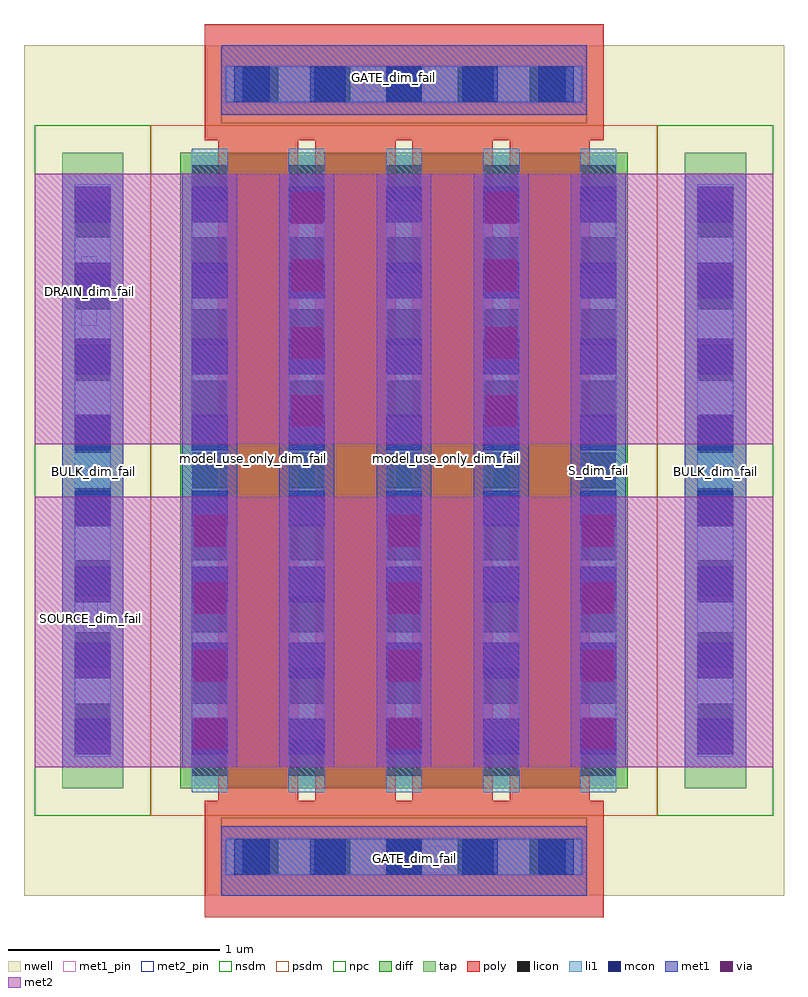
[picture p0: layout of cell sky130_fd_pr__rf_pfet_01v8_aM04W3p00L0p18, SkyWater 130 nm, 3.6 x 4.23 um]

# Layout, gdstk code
import gdstk
lib = gdstk.Library(unit=1e-6, precision=1e-09)
def R(c, l, rs):  # rectangles x0, y0, x1, y1
    for r in rs: c.add(gdstk.rectangle(r[:2], r[2:], *l))
def A(c, l, x, y, w, h, nx, ny, dx, dy):  # array of equal rectangles
    R(c, l, [(x+i*dx, y+j*dy, x+i*dx+w, y+j*dy+h) for i in range(nx) for j in range(ny)])
def P(c, l, *ps):  # polygons
    for p in ps: c.add(gdstk.Polygon(p, *l))
nwell = (64, 20)
diff = (65, 20)
tap = (65, 44)
poly = (66, 20)
licon = (66, 44)
li1 = (67, 20)
mcon = (67, 44)
met1_pin = (68, 16)
met1 = (68, 20)
via = (68, 44)
met2_pin = (69, 16)
met2 = (69, 20)
nsdm = (93, 44)
psdm = (94, 20)
npc = (95, 20)

sky130_fd_pr__rf_pfet_01 = lib.new_cell('sky130_fd_pr__rf_pfet_01v8_aM04W3p00L0p18')
R(sky130_fd_pr__rf_pfet_01, nwell, [(0,0,3.6,4.03)])
R(sky130_fd_pr__rf_pfet_01, diff, [(0.74,0.51,2.86,3.52)])
R(sky130_fd_pr__rf_pfet_01, tap, [(0.18,0.51,0.47,3.52), (3.13,0.51,3.42,3.52)])
P(sky130_fd_pr__rf_pfet_01, poly, [(0.855,-0.1),(0.855,0.45),(0.92,0.45),(0.92,3.58),(1.3,3.58),(1.3,0.45),(1.38,0.45),(1.38,3.58),(1.76,3.58),(1.76,0.45),(1.84,0.45),(1.84,3.58),(2.22,3.58),(2.22,0.45),(2.3,0.45),(2.3,3.58),(0.855,3.58),(0.855,4.13),(2.745,4.13),(2.745,3.58),(2.68,3.58),(2.68,0.45),(2.745,0.45),(2.745,-0.1)])
A(sky130_fd_pr__rf_pfet_01, licon, 1.035, 0.1, 0.17, 0.17, 5, 2, 0.34, 3.66)
A(sky130_fd_pr__rf_pfet_01, licon, 0.795, 0.57, 0.17, 0.17, 5, 9, 0.46, 0.34)
A(sky130_fd_pr__rf_pfet_01, licon, 0.24, 0.74, 0.17, 0.17, 1, 8, 0, 0.34)
A(sky130_fd_pr__rf_pfet_01, licon, 3.19, 0.74, 0.17, 0.17, 1, 8, 0, 0.34)
A(sky130_fd_pr__rf_pfet_01, li1, 0.795, 0.49, 0.17, 3.05, 5, 1, 0.46, 0)
A(sky130_fd_pr__rf_pfet_01, li1, 0.795, 0.67, 0.17, 2.69, 5, 1, 0.46, 0)
R(sky130_fd_pr__rf_pfet_01, li1, [(0.955,0.1,2.645,0.27), (0.995,0.1,2.605,0.27), (0.24,0.66,0.41,3.37), (3.19,0.66,3.36,3.37), (0.24,0.67,0.41,3.36), (3.19,0.67,3.36,3.36), (0.955,3.76,2.645,3.93), (0.995,3.76,2.605,3.93)])
A(sky130_fd_pr__rf_pfet_01, mcon, 0.995, 0.1, 0.17, 0.17, 5, 2, 0.36, 3.66)
A(sky130_fd_pr__rf_pfet_01, mcon, 0.24, 0.67, 0.17, 0.17, 1, 8, 0, 0.36)
A(sky130_fd_pr__rf_pfet_01, mcon, 0.795, 0.67, 0.17, 0.17, 5, 8, 0.46, 0.36)
A(sky130_fd_pr__rf_pfet_01, mcon, 3.19, 0.67, 0.17, 0.17, 1, 8, 0, 0.36)
R(sky130_fd_pr__rf_pfet_01, met1_pin, [(1.705,0.11,1.995,0.235), (0.245,1.98,0.415,2.035), (3.19,1.98,3.36,2.035), (1.605,3.81,1.895,3.935)])
A(sky130_fd_pr__rf_pfet_01, met1, 0.75, 0.61, 0.26, 1.28, 3, 1, 0.92, 0)
A(sky130_fd_pr__rf_pfet_01, met1, 0.75, 0.61, 0.26, 2.81, 5, 1, 0.46, 0)
R(sky130_fd_pr__rf_pfet_01, met1, [(0.935,0,2.665,0.33), (0.18,0.61,0.47,3.42), (3.13,0.61,3.42,3.42), (1.21,2.14,1.47,3.42), (2.13,2.14,2.39,3.42), (0.935,3.7,2.665,4.03)])
A(sky130_fd_pr__rf_pfet_01, via, 0.805, 0.695, 0.15, 0.15, 3, 4, 0.92, 0.32)
A(sky130_fd_pr__rf_pfet_01, via, 1.265, 2.225, 0.15, 0.15, 1, 4, 0, 0.32)
A(sky130_fd_pr__rf_pfet_01, via, 2.185, 2.225, 0.15, 0.15, 1, 4, 0, 0.32)
R(sky130_fd_pr__rf_pfet_01, met2_pin, [(0.28,1.155,0.35,1.47), (0.27,2.7,0.345,3.03)])
A(sky130_fd_pr__rf_pfet_01, met2, 0.75, 0.61, 0.26, 1.28, 3, 1, 0.92, 0)
R(sky130_fd_pr__rf_pfet_01, met2, [(0.05,0.61,3.55,1.89), (0.05,2.14,3.55,3.42), (1.21,2.14,1.47,3.42), (2.13,2.14,2.39,3.42)])
R(sky130_fd_pr__rf_pfet_01, nsdm, [(0.05,0.38,0.6,3.65), (3,0.38,3.55,3.65)])
R(sky130_fd_pr__rf_pfet_01, psdm, [(0.6,0.38,3,3.65)])
R(sky130_fd_pr__rf_pfet_01, npc, [(0.935,0,2.665,0.37), (0.935,3.66,2.665,4.03)])
sky130_fd_pr__rf_pfet_01.add(gdstk.Label('model_use_only_dim_fail', (1.085,2.07), layer=66, texttype=83))
sky130_fd_pr__rf_pfet_01.add(gdstk.Label('model_use_only_dim_fail', (1.545,2.07), layer=66, texttype=83))
sky130_fd_pr__rf_pfet_01.add(gdstk.Label('model_use_only_dim_fail', (2,2.07), layer=66, texttype=83))
sky130_fd_pr__rf_pfet_01.add(gdstk.Label('model_use_only_dim_fail', (2.465,2.07), layer=66, texttype=83))
sky130_fd_pr__rf_pfet_01.add(gdstk.Label('S_dim_fail', (0.88,2.015), layer=83, texttype=44))
sky130_fd_pr__rf_pfet_01.add(gdstk.Label('S_dim_fail', (1.34,2.015), layer=83, texttype=44))
sky130_fd_pr__rf_pfet_01.add(gdstk.Label('S_dim_fail', (1.8,2.015), layer=83, texttype=44))
sky130_fd_pr__rf_pfet_01.add(gdstk.Label('S_dim_fail', (2.26,2.015), layer=83, texttype=44))
sky130_fd_pr__rf_pfet_01.add(gdstk.Label('S_dim_fail', (0.88,2.015), layer=83, texttype=44))
sky130_fd_pr__rf_pfet_01.add(gdstk.Label('D_dim_fail', (1.34,2.015), layer=83, texttype=44))
sky130_fd_pr__rf_pfet_01.add(gdstk.Label('S_dim_fail', (1.8,2.015), layer=83, texttype=44))
sky130_fd_pr__rf_pfet_01.add(gdstk.Label('D_dim_fail', (2.26,2.015), layer=83, texttype=44))
sky130_fd_pr__rf_pfet_01.add(gdstk.Label('S_dim_fail', (2.72,2.015), layer=83, texttype=44))
sky130_fd_pr__rf_pfet_01.add(gdstk.Label('GATE_dim_fail', (1.75,3.875), layer=68, texttype=5))
sky130_fd_pr__rf_pfet_01.add(gdstk.Label('GATE_dim_fail', (1.85,0.175), layer=68, texttype=5))
sky130_fd_pr__rf_pfet_01.add(gdstk.Label('BULK_dim_fail', (3.275,2.01), layer=68, texttype=5))
sky130_fd_pr__rf_pfet_01.add(gdstk.Label('BULK_dim_fail', (0.33,2.01), layer=68, texttype=5))
sky130_fd_pr__rf_pfet_01.add(gdstk.Label('DRAIN_dim_fail', (0.31,2.865), layer=69, texttype=5))
sky130_fd_pr__rf_pfet_01.add(gdstk.Label('SOURCE_dim_fail', (0.315,1.315), layer=69, texttype=5))

lib.write_gds('sky130_fd_pr__rf_pfet_01v8_aM04W3p00L0p18.gds')
